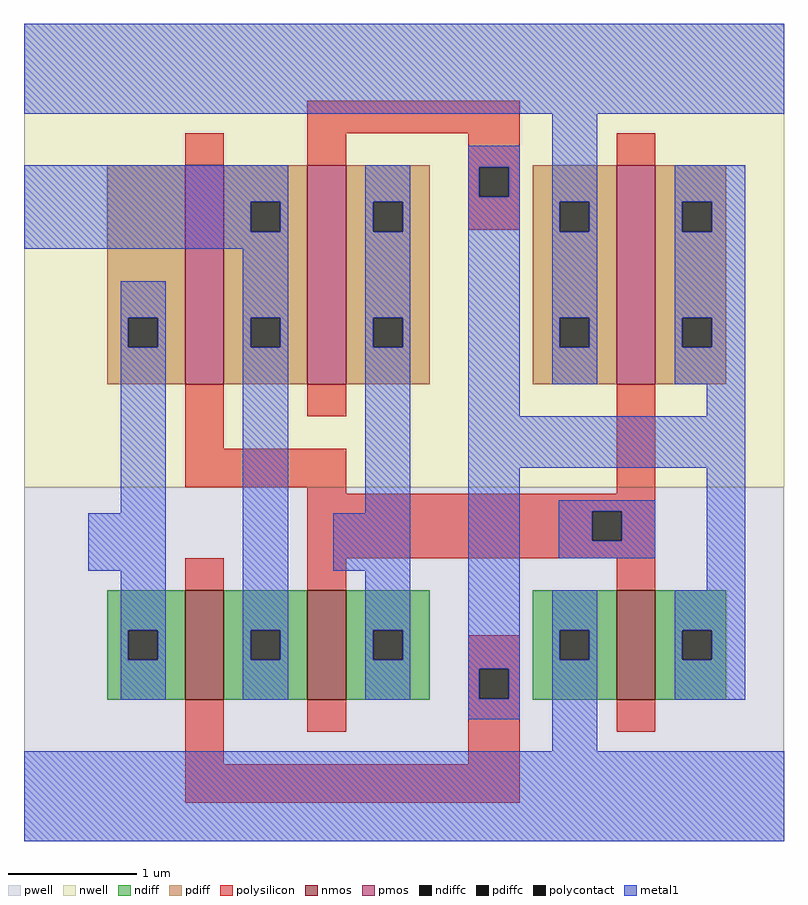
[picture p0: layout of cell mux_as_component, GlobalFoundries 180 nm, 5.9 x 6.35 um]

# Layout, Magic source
magic
tech gf180mcuD
magscale 1 10
<< nwell >>
rect 330 300 1510 1020
<< pwell >>
rect 330 -250 1510 300
<< nmos >>
rect 580 -30 640 140
rect 770 -30 830 140
rect 1250 -30 1310 140
<< pmos >>
rect 580 460 640 800
rect 770 460 830 800
rect 1250 460 1310 800
<< ndiff >>
rect 459 78 580 140
rect 459 32 492 78
rect 538 32 580 78
rect 459 -30 580 32
rect 640 78 770 140
rect 640 32 682 78
rect 728 32 770 78
rect 640 -30 770 32
rect 830 78 960 140
rect 830 32 872 78
rect 918 32 960 78
rect 1120 78 1250 140
rect 830 -30 960 32
rect 1120 32 1162 78
rect 1208 32 1250 78
rect 1120 -30 1250 32
rect 1310 78 1420 140
rect 1310 32 1352 78
rect 1398 32 1420 78
rect 1310 -30 1420 32
<< pdiff >>
rect 459 563 580 800
rect 459 517 492 563
rect 538 517 580 563
rect 459 460 580 517
rect 640 743 770 800
rect 640 697 682 743
rect 728 697 770 743
rect 640 563 770 697
rect 640 517 682 563
rect 728 517 770 563
rect 640 460 770 517
rect 830 743 960 800
rect 830 697 872 743
rect 918 697 960 743
rect 1120 743 1250 800
rect 830 563 960 697
rect 830 517 872 563
rect 918 517 960 563
rect 830 460 960 517
rect 1120 697 1162 743
rect 1208 697 1250 743
rect 1120 563 1250 697
rect 1120 517 1162 563
rect 1208 517 1250 563
rect 1120 460 1250 517
rect 1310 743 1420 800
rect 1310 697 1352 743
rect 1398 697 1420 743
rect 1310 563 1420 697
rect 1310 517 1352 563
rect 1398 517 1420 563
rect 1310 460 1420 517
<< ndiffc >>
rect 492 32 538 78
rect 682 32 728 78
rect 872 32 918 78
rect 1162 32 1208 78
rect 1352 32 1398 78
<< pdiffc >>
rect 492 517 538 563
rect 682 697 728 743
rect 682 517 728 563
rect 872 697 918 743
rect 872 517 918 563
rect 1162 697 1208 743
rect 1162 517 1208 563
rect 1352 697 1398 743
rect 1352 517 1398 563
<< polysilicon >>
rect 770 850 1100 900
rect 580 800 640 850
rect 770 800 830 850
rect 1020 797 1100 850
rect 1250 800 1310 850
rect 1020 751 1037 797
rect 1083 751 1100 797
rect 1020 700 1100 751
rect 580 360 640 460
rect 770 410 830 460
rect 580 300 830 360
rect 770 290 830 300
rect 1250 290 1310 460
rect 770 263 1310 290
rect 770 217 1212 263
rect 1258 217 1310 263
rect 770 190 1310 217
rect 580 140 640 190
rect 770 140 830 190
rect 1250 140 1310 190
rect 1020 18 1100 70
rect 1020 -28 1037 18
rect 1083 -28 1100 18
rect 580 -130 640 -30
rect 770 -80 830 -30
rect 1020 -130 1100 -28
rect 1250 -80 1310 -30
rect 580 -190 1100 -130
<< polycontact >>
rect 1037 751 1083 797
rect 1212 217 1258 263
rect 1037 -28 1083 18
<< metal1 >>
rect 330 880 1510 1020
rect 330 743 740 800
rect 330 697 682 743
rect 728 697 740 743
rect 330 670 740 697
rect 480 563 550 620
rect 480 517 492 563
rect 538 517 550 563
rect 480 260 550 517
rect 430 170 550 260
rect 480 78 550 170
rect 480 32 492 78
rect 538 32 550 78
rect 480 -30 550 32
rect 670 563 740 670
rect 670 517 682 563
rect 728 517 740 563
rect 670 78 740 517
rect 860 743 930 800
rect 860 697 872 743
rect 918 697 930 743
rect 860 563 930 697
rect 860 517 872 563
rect 918 517 930 563
rect 860 260 930 517
rect 810 170 930 260
rect 670 32 682 78
rect 728 32 740 78
rect 670 -30 740 32
rect 860 78 930 170
rect 860 32 872 78
rect 918 32 930 78
rect 860 -30 930 32
rect 1020 797 1100 830
rect 1020 751 1037 797
rect 1083 751 1100 797
rect 1020 410 1100 751
rect 1150 743 1220 880
rect 1150 697 1162 743
rect 1208 697 1220 743
rect 1150 563 1220 697
rect 1150 517 1162 563
rect 1208 517 1220 563
rect 1150 460 1220 517
rect 1340 743 1450 800
rect 1340 697 1352 743
rect 1398 697 1450 743
rect 1340 563 1450 697
rect 1340 517 1352 563
rect 1398 517 1450 563
rect 1340 460 1450 517
rect 1390 410 1450 460
rect 1020 330 1450 410
rect 1020 18 1100 330
rect 1160 263 1310 280
rect 1160 217 1212 263
rect 1258 217 1310 263
rect 1160 190 1310 217
rect 1390 140 1450 330
rect 1020 -28 1037 18
rect 1083 -28 1100 18
rect 1020 -60 1100 -28
rect 1150 78 1220 140
rect 1150 32 1162 78
rect 1208 32 1220 78
rect 1150 -110 1220 32
rect 1340 78 1450 140
rect 1340 32 1352 78
rect 1398 32 1450 78
rect 1340 -30 1450 32
rect 330 -250 1510 -110
<< end >>
